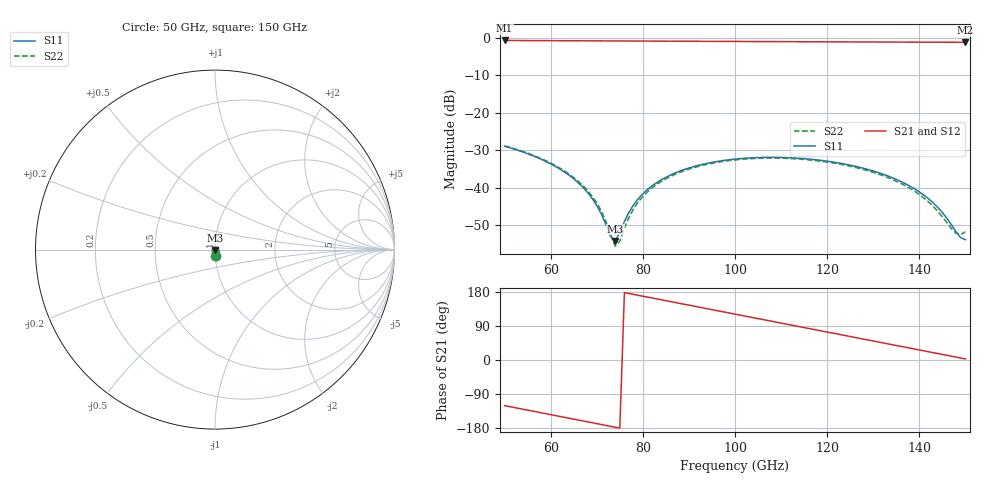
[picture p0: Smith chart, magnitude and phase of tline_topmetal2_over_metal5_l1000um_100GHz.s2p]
#  GHZ S DB R 50
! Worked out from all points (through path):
!   101 points, 50 GHz to 150 GHz, reference 50 ohm
!   highest |S21| = -0.70 dB at 50 GHz (marker M1); lowest = -1.2 dB at 150 GHz (marker M2)
!   group delay of S21, straight-line fit = 6.57 ps
!   lowest |S11| = -54.3 dB at 74 GHz (marker M3), VSWR 1.00, Z = 50.1 - j0.138 ohm
!   |S11| at or under -10 dB: start of sweep to end of sweep
!   |S22| runs from -55.7 to -28.9 dB; largest |S21 - S12| = 1e-13
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50  -28.97 -85.1  -0.70 -120.4  -0.70 -120.4  -28.87 -85.7
60  -33.67 -105.9  -0.76 -144.2  -0.76 -144.2  -33.47 -106.9
67  -39.93 -116.3  -0.80 -160.8  -0.80 -160.8  -39.51 -118.6
69  -42.90 -116.4  -0.81 -165.5  -0.81 -165.5  -42.32 -119.8
71  -47.10 -110.8  -0.82 -170.3  -0.82 -170.3  -46.30 -117.1
73  -53.06 -81.6  -0.83 -175.0  -0.83 -175.0  -52.55 -98.0
74  -54.28 -45.6  -0.84 -177.4  -0.84 -177.4  -55.66 -65.1
75  -52.00 -15.3  -0.84 -179.8  -0.84 -179.8  -54.35 -23.2
77  -46.58 5.6  -0.85 175.5  -0.85 175.5  -47.92 5.9
79  -43.01 9.4  -0.86 170.8  -0.86 170.8  -43.85 10.4
84  -37.93 5.0  -0.89 158.9  -0.89 158.9  -38.38 5.8
91  -34.41 -8.0  -0.92 142.3  -0.92 142.3  -34.70 -7.5
100  -32.39 -27.0  -0.97 121.0  -0.97 121.0  -32.61 -26.7
109  -31.93 -46.4  -1.02 99.8  -1.02 99.8  -32.13 -46.1
117  -32.50 -63.5  -1.05 80.9  -1.05 80.9  -32.73 -63.2
125  -34.02 -80.2  -1.09 62.0  -1.09 62.0  -34.31 -79.7
134  -37.30 -97.9  -1.13 40.7  -1.13 40.7  -37.75 -96.7
138  -39.64 -104.5  -1.15 31.2  -1.15 31.2  -40.24 -102.4
142  -42.99 -108.4  -1.17 21.8  -1.17 21.8  -43.85 -104.2
145  -46.66 -106.3  -1.18 14.7  -1.18 14.7  -47.80 -97.4
148  -51.84 -87.2  -1.20 7.6  -1.20 7.6  -52.22 -66.1
150  -53.93 -50.1  -1.21 2.9  -1.21 2.9  -51.80 -30.5
